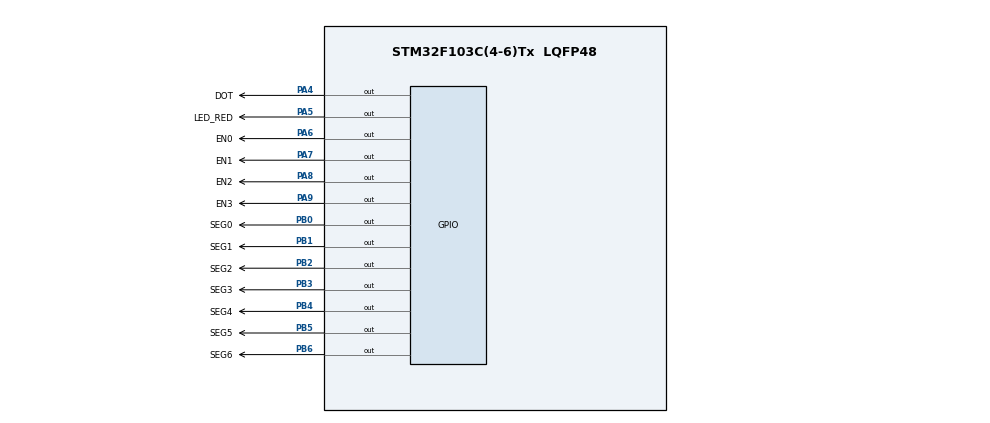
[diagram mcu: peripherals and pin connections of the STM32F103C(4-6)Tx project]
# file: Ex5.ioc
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Mcu.Family=STM32F1
Mcu.Name=STM32F103C(4-6)Tx
Mcu.Package=LQFP48
NVIC.PriorityGroup=NVIC_PRIORITYGROUP_4
NVIC.TIM2_IRQn=true\:0\:0\:false\:false\:true\:true\:true
PA4.GPIO_Label=DOT
PA4.Signal=GPIO_Output
PA5.GPIO_Label=LED_RED
PA5.Signal=GPIO_Output
PA6.GPIO_Label=EN0
PA6.Signal=GPIO_Output
PA7.GPIO_Label=EN1
PA7.Signal=GPIO_Output
PA8.GPIO_Label=EN2
PA8.Signal=GPIO_Output
PA9.GPIO_Label=EN3
PA9.Signal=GPIO_Output
PB0.GPIO_Label=SEG0
PB0.Signal=GPIO_Output
PB1.GPIO_Label=SEG1
PB1.Signal=GPIO_Output
PB2.GPIO_Label=SEG2
PB2.Signal=GPIO_Output
PB3.GPIO_Label=SEG3
PB3.Signal=GPIO_Output
PB4.GPIO_Label=SEG4
PB4.Signal=GPIO_Output
PB5.GPIO_Label=SEG5
PB5.Signal=GPIO_Output
PB6.GPIO_Label=SEG6
PB6.Signal=GPIO_Output
ProjectManager.HeapSize=0x200
ProjectManager.StackSize=0x400
ProjectManager.TargetToolchain=STM32CubeIDE
RCC.APB1Freq_Value=8000000
RCC.APB2Freq_Value=8000000
TIM2.Period=9
TIM2.Prescaler=7999
VP_SYS_VS_ND.Mode=No_Debug
VP_TIM2_VS_ClockSourceINT.Mode=Internal
board=custom

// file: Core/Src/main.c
/* USER CODE BEGIN Header */
/**
  ******************************************************************************
  * @file           : main.c
  * @brief          : Main program body
  ******************************************************************************
  * @attention
  *
  * <h2><center>&copy; Copyright (c) 2023 STMicroelectronics.
  * All rights reserved.</center></h2>
  *
  * This software component is licensed by ST under BSD 3-Clause license,
  * the "License"; You may not use this file except in compliance with the
  * License. You may obtain a copy of the License at:
  *                        opensource.org/licenses/BSD-3-Clause
  *
  ******************************************************************************
  */
/* USER CODE END Header */
#include "main.h"
#include "control.h"

TIM_HandleTypeDef htim2;

void SystemClock_Config(void);
static void MX_GPIO_Init(void);
static void MX_TIM2_Init(void);

int main(void)
{

  /* MCU Configuration--------------------------------------------------------*/

  /* Reset of all peripherals, Initializes the Flash interface and the Systick. */
  HAL_Init();

  /* Configure the system clock */
  SystemClock_Config();

  /* Initialize all configured peripherals */
  MX_GPIO_Init();
  MX_TIM2_Init();
  /* USER CODE BEGIN 2 */
  HAL_TIM_Base_Start_IT(&htim2);
  /* USER CODE END 2 */

  /* Infinite loop */
  /* USER CODE BEGIN WHILE */

  while (1)
    {
      second++;
      if(second >= 60)
      {
        second = 0;
        minute++;
      }
      if(minute >= 60)
      {
        minute = 0;
        hour++;
      }
      if(hour >= 24)
      {
        hour = 0;
      }
      updateClockBuffer();
      HAL_Delay(1000);
  /* USER CODE END 3 */
}
  /* USER CODE END 3 */
}

void SystemClock_Config(void)
{
  RCC_OscInitTypeDef RCC_OscInitStruct = {0};
  RCC_ClkInitTypeDef RCC_ClkInitStruct = {0};

  /** Initializes the RCC Oscillators according to the specified parameters
  * in the RCC_OscInitTypeDef structure.
  */
  RCC_OscInitStruct.OscillatorType = RCC_OSCILLATORTYPE_HSI;
  RCC_OscInitStruct.HSIState = RCC_HSI_ON;
  RCC_OscInitStruct.HSICalibrationValue = RCC_HSICALIBRATION_DEFAULT;
  RCC_OscInitStruct.PLL.PLLState = RCC_PLL_NONE;
  if (HAL_RCC_OscConfig(&RCC_OscInitStruct) != HAL_OK)
  {
    Error_Handler();
  }
  /** Initializes the CPU, AHB and APB buses clocks
  */
  RCC_ClkInitStruct.ClockType = RCC_CLOCKTYPE_HCLK|RCC_CLOCKTYPE_SYSCLK
                              |RCC_CLOCKTYPE_PCLK1|RCC_CLOCKTYPE_PCLK2;
  RCC_ClkInitStruct.SYSCLKSource = RCC_SYSCLKSOURCE_HSI;
  RCC_ClkInitStruct.AHBCLKDivider = RCC_SYSCLK_DIV1;
  RCC_ClkInitStruct.APB1CLKDivider = RCC_HCLK_DIV1;
  RCC_ClkInitStruct.APB2CLKDivider = RCC_HCLK_DIV1;

  if (HAL_RCC_ClockConfig(&RCC_ClkInitStruct, FLASH_LATENCY_0) != HAL_OK)
  {
    Error_Handler();
  }
}

static void MX_TIM2_Init(void)
{

  TIM_ClockConfigTypeDef sClockSourceConfig = {0};
  TIM_MasterConfigTypeDef sMasterConfig = {0};

  htim2.Instance = TIM2;
  htim2.Init.Prescaler = 7999;
  htim2.Init.CounterMode = TIM_COUNTERMODE_UP;
  htim2.Init.Period = 9;
  htim2.Init.ClockDivision = TIM_CLOCKDIVISION_DIV1;
  htim2.Init.AutoReloadPreload = TIM_AUTORELOAD_PRELOAD_DISABLE;
  if (HAL_TIM_Base_Init(&htim2) != HAL_OK)
  {
    Error_Handler();
  }
  sClockSourceConfig.ClockSource = TIM_CLOCKSOURCE_INTERNAL;
  if (HAL_TIM_ConfigClockSource(&htim2, &sClockSourceConfig) != HAL_OK)
  {
    Error_Handler();
  }
  sMasterConfig.MasterOutputTrigger = TIM_TRGO_RESET;
  sMasterConfig.MasterSlaveMode = TIM_MASTERSLAVEMODE_DISABLE;
  if (HAL_TIMEx_MasterConfigSynchronization(&htim2, &sMasterConfig) != HAL_OK)
  {
    Error_Handler();
  }

}

static void MX_GPIO_Init(void)
{
  GPIO_InitTypeDef GPIO_InitStruct = {0};

  /* GPIO Ports Clock Enable */
  __HAL_RCC_GPIOA_CLK_ENABLE();
  __HAL_RCC_GPIOB_CLK_ENABLE();

  /*Configure GPIO pin Output Level */
  HAL_GPIO_WritePin(GPIOA, DOT_Pin|LED_RED_Pin|EN0_Pin|EN1_Pin
                          |EN2_Pin|EN3_Pin, GPIO_PIN_RESET);

  /*Configure GPIO pin Output Level */
  HAL_GPIO_WritePin(GPIOB, SEG0_Pin|SEG1_Pin|SEG2_Pin|SEG3_Pin
                          |SEG4_Pin|SEG5_Pin|SEG6_Pin, GPIO_PIN_RESET);

  /*Configure GPIO pins : DOT_Pin LED_RED_Pin EN0_Pin EN1_Pin
                           EN2_Pin EN3_Pin */
  GPIO_InitStruct.Pin = DOT_Pin|LED_RED_Pin|EN0_Pin|EN1_Pin
                          |EN2_Pin|EN3_Pin;
  GPIO_InitStruct.Mode = GPIO_MODE_OUTPUT_PP;
  GPIO_InitStruct.Pull = GPIO_NOPULL;
  GPIO_InitStruct.Speed = GPIO_SPEED_FREQ_LOW;
  HAL_GPIO_Init(GPIOA, &GPIO_InitStruct);

  /*Configure GPIO pins : SEG0_Pin SEG1_Pin SEG2_Pin SEG3_Pin
                           SEG4_Pin SEG5_Pin SEG6_Pin */
  GPIO_InitStruct.Pin = SEG0_Pin|SEG1_Pin|SEG2_Pin|SEG3_Pin
                          |SEG4_Pin|SEG5_Pin|SEG6_Pin;
  GPIO_InitStruct.Mode = GPIO_MODE_OUTPUT_PP;
  GPIO_InitStruct.Pull = GPIO_NOPULL;
  GPIO_InitStruct.Speed = GPIO_SPEED_FREQ_LOW;
  HAL_GPIO_Init(GPIOB, &GPIO_InitStruct);

}

/* USER CODE BEGIN 4 */
int seg_counter = 25;
int led_counter = 100;
void HAL_TIM_PeriodElapsedCallback(TIM_HandleTypeDef *htim){
	if(seg_counter > 0)
	  {
	    seg_counter--;
	    if(seg_counter <= 0)
	    {
	    	update7SEG(index_led);
	    	index_led++;
	    	if(index_led >= MAX_LED) index_led = 0;
	    	seg_counter = 25;
	    }
	  }
  if(led_counter > 0)
  {
    led_counter--;
    if(led_counter <= 0)
    {
      HAL_GPIO_TogglePin(GPIOA, LED_RED_Pin | DOT_Pin);
      led_counter = 100;
    }
  }
}
/* USER CODE END 4 */

void Error_Handler(void)
{
  __disable_irq();
  while (1)
  {
  }
}

/************************ (C) COPYRIGHT STMicroelectronics *****END OF FILE****/
